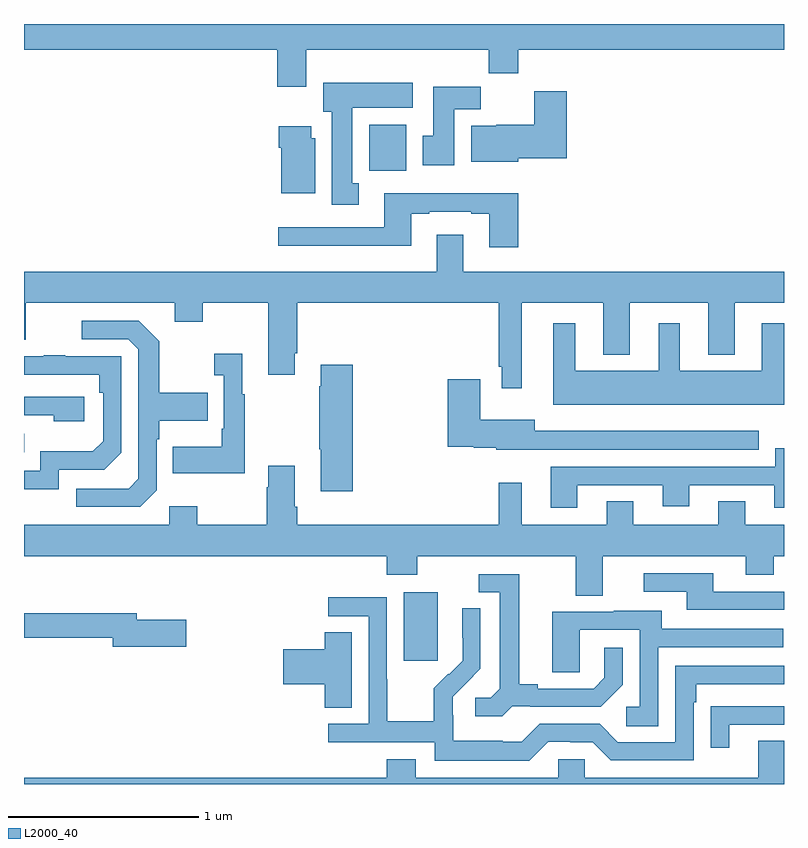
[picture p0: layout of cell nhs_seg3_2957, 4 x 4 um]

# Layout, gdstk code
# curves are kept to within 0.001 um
import gdstk
lib = gdstk.Library(unit=1e-6, precision=1e-09)
def R(c, l, rs):  # rectangles x0, y0, x1, y1
    for r in rs: c.add(gdstk.rectangle(r[:2], r[2:], *l))
def P(c, l, *ps):  # polygons
    for p in ps: c.add(gdstk.Polygon(p, *l))
L2000_40 = (2000, 40)

nhs_seg3_2957 = lib.new_cell('nhs_seg3_2957')
R(nhs_seg3_2957, L2000_40, [(266.999,683.049,267.178,683.41), (265,684.147,265.001,684.243), (266.816,685.628,267.013,685.87)])
P(nhs_seg3_2957, L2000_40, [(266.485,686.264),(267.445,686.264),(267.445,686.14),(267.602,686.14),(267.602,686.264),(269,686.264),(269,686.4),(265,686.4),(265,686.264),(266.333,686.264),(266.333,686.07),(266.485,686.07)],
  [(266.761,685.562),(266.728,685.562),(266.728,685.958),(267.046,685.958),(267.046,686.092),(266.576,686.092),(266.576,685.938),(266.621,685.938),(266.621,685.449),(266.761,685.449)],
  [(267.265,685.952),(267.404,685.952),(267.404,686.071),(267.155,686.071),(267.155,685.812),(267.098,685.812),(267.098,685.656),(267.265,685.656)],
  [(267.6,685.694),(267.857,685.694),(267.857,686.047),(267.686,686.047),(267.686,685.87),(267.486,685.87),(267.486,685.864),(267.353,685.864),(267.353,685.676),(267.6,685.676)],
  [(266.533,685.8),(266.512,685.8),(266.512,685.861),(266.342,685.861),(266.342,685.748),(266.354,685.748),(266.354,685.508),(266.533,685.508)],
  [(267.602,685.51),(266.897,685.51),(266.897,685.329),(266.337,685.329),(266.337,685.232),(267.037,685.232),(267.037,685.401),(267.133,685.401),(267.133,685.413),(267.353,685.413),(267.353,685.401),(267.449,685.401),(267.449,685.224),(267.602,685.224)],
  [(267.313,685.291),(267.173,685.291),(267.173,685.096),(265,685.096),(265,684.738),(265.009,684.738),(265.009,684.932),(265.793,684.932),(265.793,684.833),(265.941,684.833),(265.941,684.932),(266.285,684.932),(266.285,684.555),(266.425,684.555),(266.425,684.667),(266.438,684.667),(266.438,684.932),(267.498,684.932),(267.498,684.595),(267.515,684.595),(267.515,684.483),(267.619,684.483),(267.619,684.932),(268.049,684.932),(268.049,684.659),(268.189,684.659),(268.189,684.932),(268.601,684.932),(268.601,684.659),(268.741,684.659),(268.741,684.932),(269,684.932),(269,685.096),(267.313,685.096)],
  [(265.698,683.946),(265.698,684.215),(265.711,684.215),(265.711,684.311),(265.967,684.311),(265.967,684.459),(265.711,684.459),(265.711,684.731),(265.605,684.837),(265.305,684.837),(265.305,684.741),(265.548,684.741),(265.602,684.687),(265.602,684.006),(265.551,683.955),(265.275,683.955),(265.275,683.859),(265.611,683.859)],
  [(269,684.826),(268.883,684.826),(268.883,684.574),(268.45,684.574),(268.45,684.826),(268.34,684.826),(268.34,684.574),(267.901,684.574),(267.901,684.826),(267.785,684.826),(267.785,684.395),(269,684.395)],
  [(266.161,684.451),(266.149,684.451),(266.149,684.664),(266.001,684.664),(266.001,684.551),(266.052,684.551),(266.052,684.271),(266.04,684.271),(266.04,684.175),(265.783,684.175),(265.783,684.035),(266.161,684.035)],
  [(265.182,684.054),(265.422,684.054),(265.512,684.144),(265.512,684.651),(265.217,684.651),(265.217,684.656),(265.105,684.656),(265.105,684.651),(265,684.651),(265,684.555),(265.396,684.555),(265.396,684.458),(265.416,684.458),(265.416,684.204),(265.363,684.151),(265.086,684.151),(265.086,684.048),(265,684.048),(265,683.952),(265.182,683.952)],
  [(266.729,684.607),(266.561,684.607),(266.561,684.494),(266.554,684.494),(266.554,684.163),(266.561,684.163),(266.561,683.94),(266.729,683.94)],
  [(268.867,684.259),(267.688,684.259),(267.688,684.316),(267.4,684.316),(267.4,684.529),(267.23,684.529),(267.23,684.176),(267.366,684.176),(267.366,684.169),(267.486,684.169),(267.486,684.158),(268.867,684.158)],
  [(265.318,684.438),(265,684.438),(265,684.342),(265.157,684.342),(265.157,684.308),(265.318,684.308)],
  [(267.913,683.973),(268.361,683.973),(268.361,683.861),(268.501,683.861),(268.501,683.973),(268.949,683.973),(268.949,683.853),(269,683.853),(269,684.166),(268.955,684.166),(268.955,684.069),(267.773,684.069),(267.773,683.853),(267.913,683.853)],
  [(268.045,683.6),(268.799,683.6),(268.799,683.501),(268.947,683.501),(268.947,683.6),(269,683.6),(269,683.764),(268.795,683.764),(268.795,683.888),(268.655,683.888),(268.655,683.764),(268.207,683.764),(268.207,683.888),(268.067,683.888),(268.067,683.764),(267.619,683.764),(267.619,683.986),(267.498,683.986),(267.498,683.764),(266.438,683.764),(266.438,683.86),(266.425,683.86),(266.425,684.076),(266.285,684.076),(266.285,683.963),(266.278,683.963),(266.278,683.764),(265.911,683.764),(265.911,683.863),(265.764,683.863),(265.764,683.764),(265,683.764),(265,683.6),(266.909,683.6),(266.909,683.501),(267.069,683.501),(267.069,683.6),(267.905,683.6),(267.905,683.392),(268.045,683.392)],
  [(269,683.412),(268.627,683.412),(268.627,683.508),(268.263,683.508),(268.263,683.412),(268.487,683.412),(268.487,683.316),(269,683.316)],
  [(267.57,682.809),(267.664,682.809),(267.664,682.806),(268.036,682.806),(268.152,682.922),(268.152,683.116),(268.055,683.116),(268.055,682.959),(267.998,682.902),(267.703,682.902),(267.703,682.925),(267.607,682.925),(267.607,683.505),(267.393,683.505),(267.393,683.409),(267.503,683.409),(267.503,682.901),(267.456,682.854),(267.375,682.854),(267.375,682.757),(267.518,682.757)],
  [(267.759,682.623),(267.875,682.623),(267.875,682.62),(267.993,682.62),(268.089,682.524),(268.524,682.524),(268.524,682.829),(268.537,682.829),(268.537,682.926),(269,682.926),(269,683.022),(268.428,683.022),(268.428,682.62),(268.125,682.62),(268.029,682.716),(267.714,682.716),(267.621,682.623),(267.521,682.623),(267.521,682.627),(267.258,682.627),(267.258,682.761),(267.256,682.761),(267.256,682.858),(267.402,683.006),(267.402,683.324),(267.306,683.324),(267.306,683.17),(267.308,683.17),(267.308,683.048),(267.237,682.977),(267.234,682.98),(267.157,682.903),(267.157,682.729),(266.913,682.729),(266.913,682.952),(266.91,682.952),(266.91,683.382),(266.601,683.382),(266.601,683.283),(266.814,683.283),(266.814,682.716),(266.601,682.716),(266.601,682.62),(267.162,682.62),(267.162,682.523),(267.659,682.523)],
  [(268.338,683.121),(268.997,683.121),(268.997,683.217),(268.357,683.217),(268.357,683.311),(268.103,683.311),(268.103,683.307),(267.779,683.307),(267.779,682.987),(267.924,682.987),(267.924,683.211),(268.242,683.211),(268.242,682.806),(268.17,682.806),(268.17,682.705),(268.338,682.705)],
  [(265.855,683.265),(265.594,683.265),(265.594,683.299),(265,683.299),(265,683.17),(265.466,683.17),(265.466,683.123),(265.855,683.123)],
  [(266.725,683.198),(266.582,683.198),(266.582,683.108),(266.364,683.108),(266.364,682.925),(266.582,682.925),(266.582,682.801),(266.725,682.801)],
  [(268.711,682.713),(269,682.713),(269,682.809),(268.717,682.809),(268.717,682.808),(268.615,682.808),(268.615,682.59),(268.711,682.59)],
  [(269,682.627),(268.865,682.627),(268.865,682.432),(267.951,682.432),(267.951,682.53),(267.813,682.53),(267.813,682.432),(267.061,682.432),(267.061,682.531),(266.909,682.531),(266.909,682.432),(265,682.432),(265,682.4),(269,682.4)])

lib.write_gds('nhs_seg3_2957.gds')
